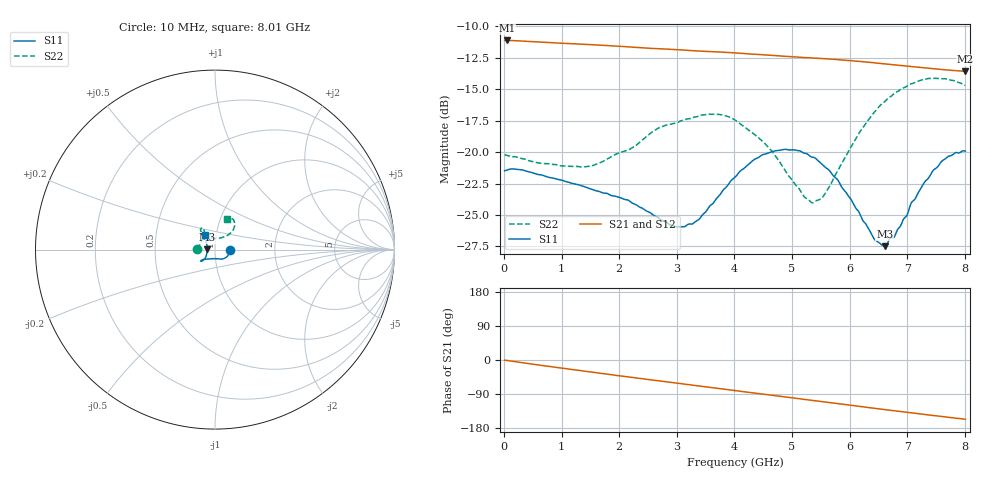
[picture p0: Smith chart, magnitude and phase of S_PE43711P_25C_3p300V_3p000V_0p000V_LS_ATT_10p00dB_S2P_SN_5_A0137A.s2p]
! Device ID: PE43711P
! File Path: z:\PE43711P\CHAR_NOM_04282014\AMB\3p300\LS_ATT_10p00dB\PE43711P_AMB_3p300V_3p000V_0p000V_LS_ATT_10p00dB_S2P_SN_5_A0137A.s2p
! Serial: 5
! Lot: A0137A
! Temp: 25C
! VDD: 3.300
! VSS: 0.000
! Control_Hi: 3.000
! Control_Lo: 0.000
! Attenuation Step: 10.00dB
! Port 1: RF1
! Port 2: RF2
! ThroughPath:1-2
! IDD: 0.0001276864
! ISS: -9.47e-008
#  Hz  S  RI  R  50
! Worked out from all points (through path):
!   801 points, 10 MHz to 8.01 GHz, reference 50 ohm
!   highest |S21| = -11.12 dB at 50 MHz (marker M1); lowest = -13.6 dB at 8.01 GHz (marker M2)
!   group delay of S21, straight-line fit = 54 ps
!   lowest |S11| = -27.5 dB at 6.61 GHz (marker M3), VSWR 1.09, Z = 45.9 + j0.131 ohm
!   |S11| at or under -10 dB: start of sweep to end of sweep
!   |S22| runs from -24.0 to -14.1 dB; largest |S21 - S12| = 0.00049
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1e7  0.0843 -0.000217  0.278 -0.00131  0.2783 -0.00141  -0.0979 0.00079
5e7  0.0849 -0.0018  0.278 -0.00571  0.2782 -0.00569  -0.097 0.00258
1.35e9  0.0569 -0.0464  0.2362 -0.1282  0.2364 -0.1283  -0.0768 0.0412
2.18e9  0.0355 -0.0532  0.1847 -0.1859  0.1849 -0.1859  -0.062 0.0818
2.68e9  0.0188 -0.0515  0.1484 -0.2107  0.1485 -0.2108  -0.0611 0.1087
2.99e9  0.00399 -0.0504  0.1244 -0.2233  0.1245 -0.2234  -0.0636 0.1141
3.29e9  -0.0129 -0.0506  0.1001 -0.2324  0.1001 -0.2326  -0.0678 0.1198
3.68e9  -0.0386 -0.0524  0.0682 -0.2409  0.0681 -0.241  -0.0767 0.1189
4.01e9  -0.0581 -0.0543  0.0402 -0.2447  0.0401 -0.2448  -0.0805 0.1074
4.34e9  -0.0731 -0.0581  0.0127 -0.2448  0.0127 -0.2449  -0.0714 0.0939
4.69e9  -0.0792 -0.0625  -0.0159 -0.2416  -0.016 -0.2416  -0.0559 0.0806
5.07e9  -0.0781 -0.0652  -0.0457 -0.2345  -0.0458 -0.2346  -0.0269 0.0686
5.35e9  -0.0725 -0.0622  -0.0667 -0.2272  -0.0668 -0.2275  -0.000509 0.0629
5.55e9  -0.066 -0.0585  -0.0814 -0.2209  -0.0814 -0.221  0.0212 0.0637
5.79e9  -0.0582 -0.0515  -0.0984 -0.2115  -0.0985 -0.2115  0.0465 0.07
6.18e9  -0.0476 -0.0307  -0.1235 -0.1933  -0.1236 -0.1933  0.0823 0.0881
6.44e9  -0.0432 -0.0117  -0.1381 -0.1794  -0.1382 -0.1795  0.0989 0.1062
6.61e9  -0.0423 0.00142  -0.1465 -0.1699  -0.1465 -0.1701  0.1049 0.1195
6.68e9  -0.0438 0.00825  -0.1499 -0.1659  -0.1499 -0.1661  0.107 0.1252
7.45e9  -0.0545 0.0647  -0.1788 -0.1189  -0.1789 -0.119  0.0959 0.1715
7.7e9  -0.0579 0.0762  -0.1853 -0.1032  -0.1853 -0.103  0.0828 0.1768
8.01e9  -0.0563 0.0837  -0.192 -0.0837  -0.1922 -0.0832  0.0694 0.1706
